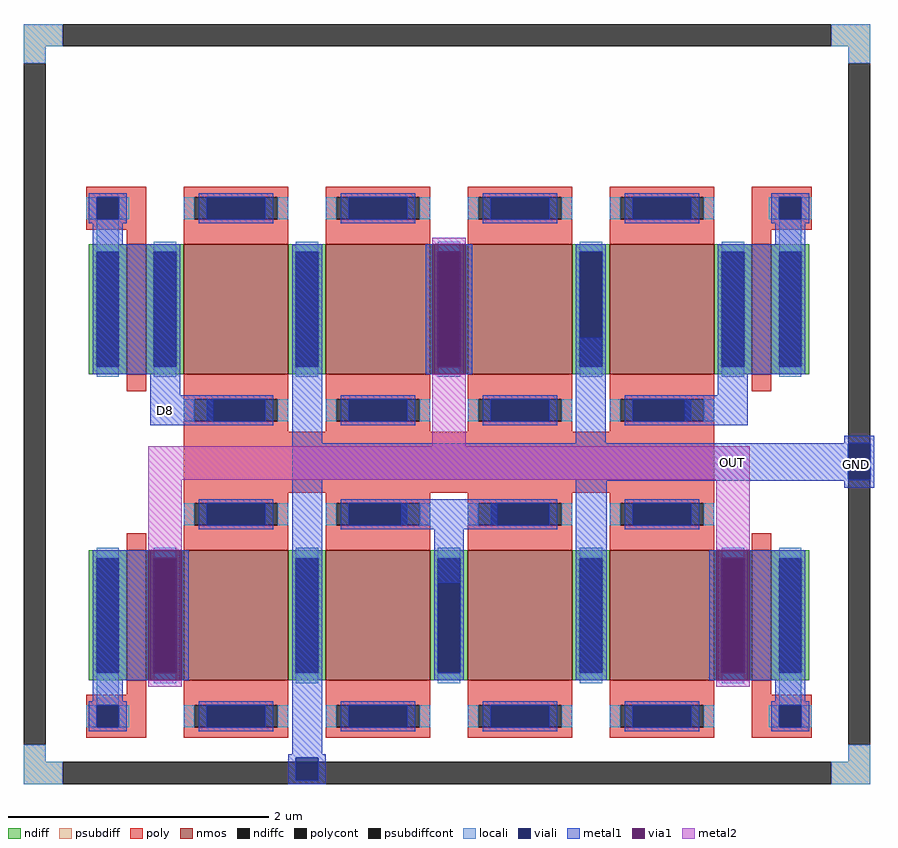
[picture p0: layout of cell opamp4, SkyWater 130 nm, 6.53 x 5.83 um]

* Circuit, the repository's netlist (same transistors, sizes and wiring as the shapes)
* NGSPICE file created from opamp4.ext - technology: sky130A

.subckt sky130_fd_pr__nfet_01v8_5MNGEB a_n29_n100# a_n247_n100# a_189_n100# a_n189_n188#
+ a_29_n188# VSUBS
X0 a_n29_n100# a_n189_n188# a_n247_n100# VSUBS sky130_fd_pr__nfet_01v8 ad=0.145 pd=1.29 as=0.29 ps=2.58 w=1 l=0.8
X1 a_189_n100# a_29_n188# a_n29_n100# VSUBS sky130_fd_pr__nfet_01v8 ad=0.29 pd=2.58 as=0.145 ps=1.29 w=1 l=0.8
.ends

.subckt sky130_fd_pr__nfet_01v8_6H9P4D a_n73_n100# a_15_n100# a_n15_n126# VSUBS
X0 a_15_n100# a_n15_n126# a_n73_n100# VSUBS sky130_fd_pr__nfet_01v8 ad=0.29 pd=2.58 as=0.29 ps=2.58 w=1 l=0.15
.ends

.subckt opamp4 D8 OUT GND
Xsky130_fd_pr__nfet_01v8_5MNGEB_0 GND D8 OUT D8 D8 GND sky130_fd_pr__nfet_01v8_5MNGEB
Xsky130_fd_pr__nfet_01v8_5MNGEB_1 GND OUT D8 D8 D8 GND sky130_fd_pr__nfet_01v8_5MNGEB
Xsky130_fd_pr__nfet_01v8_5MNGEB_2 GND D8 OUT D8 D8 GND sky130_fd_pr__nfet_01v8_5MNGEB
Xsky130_fd_pr__nfet_01v8_5MNGEB_3 GND OUT D8 D8 D8 GND sky130_fd_pr__nfet_01v8_5MNGEB
Xsky130_fd_pr__nfet_01v8_6H9P4D_0 OUT OUT OUT GND sky130_fd_pr__nfet_01v8_6H9P4D
Xsky130_fd_pr__nfet_01v8_6H9P4D_1 D8 D8 D8 GND sky130_fd_pr__nfet_01v8_6H9P4D
Xsky130_fd_pr__nfet_01v8_6H9P4D_3 D8 D8 D8 GND sky130_fd_pr__nfet_01v8_6H9P4D
Xsky130_fd_pr__nfet_01v8_6H9P4D_5 OUT OUT OUT GND sky130_fd_pr__nfet_01v8_6H9P4D
.ends

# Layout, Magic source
magic
tech sky130A
magscale 1 2
<< psubdiff >>
rect -188 1062 -128 1096
rect 1052 1062 1112 1096
rect -188 1036 -154 1062
rect 1078 1036 1112 1062
rect -188 -37 -154 -11
rect 1078 -37 1112 -11
rect -188 -71 -128 -37
rect 1052 -71 1112 -37
<< psubdiffcont >>
rect -128 1062 1052 1096
rect -188 -11 -154 1036
rect 1078 -11 1112 1036
rect -128 -71 1052 -37
<< poly >>
rect -92 830 0 846
rect -92 796 -76 830
rect -42 796 0 830
rect -92 780 0 796
rect -30 758 0 780
rect 930 830 1022 846
rect 930 796 972 830
rect 1006 796 1022 830
rect 930 780 1022 796
rect 930 758 960 780
rect 58 376 872 470
rect -30 66 0 88
rect -92 50 0 66
rect -92 16 -76 50
rect -42 16 0 50
rect -92 0 0 16
rect 930 66 960 88
rect 930 50 1022 66
rect 930 16 972 50
rect 1006 16 1022 50
rect 930 0 1022 16
<< polycont >>
rect -76 796 -42 830
rect 972 796 1006 830
rect -76 16 -42 50
rect 972 16 1006 50
<< locali >>
rect -188 1062 -128 1096
rect 1052 1062 1112 1096
rect -188 1036 -154 1062
rect 1078 1036 1112 1062
rect -92 796 -76 830
rect -42 796 -26 830
rect 956 796 972 830
rect 1006 796 1022 830
rect -76 758 -42 796
rect 972 758 1006 796
rect -76 50 -42 88
rect 972 50 1006 88
rect -92 16 -76 50
rect -42 16 -26 50
rect 956 16 972 50
rect 1006 16 1022 50
rect -188 -37 -154 -11
rect 1078 -37 1112 -11
rect -188 -71 -128 -37
rect 1052 -71 1112 -37
<< viali >>
rect -76 796 -42 830
rect 972 796 1006 830
rect 1078 396 1112 452
rect -76 16 -42 50
rect 972 16 1006 50
rect 230 -37 264 -31
rect 230 -65 264 -37
<< metal1 >>
rect -88 830 -30 836
rect -88 796 -76 830
rect -42 796 -30 830
rect -88 790 -30 796
rect 960 830 1018 836
rect 960 796 972 830
rect 1006 796 1018 830
rect 960 790 1018 796
rect -82 758 -36 790
rect 966 758 1012 790
rect -82 558 52 758
rect 6 526 52 558
rect 6 480 103 526
rect 224 452 270 758
rect 429 558 439 758
rect 491 558 501 758
rect 660 453 706 614
rect 878 558 1012 758
rect 878 526 924 558
rect 827 480 924 526
rect 660 452 707 453
rect 1072 452 1118 464
rect 224 396 1078 452
rect 1112 396 1118 452
rect -82 88 3 288
rect 55 88 65 288
rect -82 56 -36 88
rect -88 50 -30 56
rect -88 16 -76 50
rect -42 16 -30 50
rect -88 10 -30 16
rect 224 -25 270 396
rect 660 395 1118 396
rect 392 320 539 366
rect 442 238 488 320
rect 660 88 707 395
rect 1072 384 1118 395
rect 865 88 875 288
rect 927 88 1012 288
rect 966 56 1012 88
rect 960 50 1018 56
rect 960 16 972 50
rect 1006 16 1018 50
rect 960 10 1018 16
rect 218 -31 276 -25
rect 218 -65 230 -31
rect 264 -65 276 -31
rect 218 -71 276 -65
<< via1 >>
rect 439 558 491 758
rect 3 88 55 288
rect 875 88 927 288
<< metal2 >>
rect 439 758 491 768
rect 439 448 491 558
rect 3 396 927 448
rect 3 288 55 396
rect 3 78 55 88
rect 875 288 927 396
rect 875 78 927 88
use sky130_fd_pr__nfet_01v8_5MNGEB  sky130_fd_pr__nfet_01v8_5MNGEB_0
transform 1 0 247 0 1 658
box -247 -188 247 188
use sky130_fd_pr__nfet_01v8_5MNGEB  sky130_fd_pr__nfet_01v8_5MNGEB_1
transform 1 0 247 0 1 188
box -247 -188 247 188
use sky130_fd_pr__nfet_01v8_5MNGEB  sky130_fd_pr__nfet_01v8_5MNGEB_2
transform 1 0 683 0 1 188
box -247 -188 247 188
use sky130_fd_pr__nfet_01v8_5MNGEB  sky130_fd_pr__nfet_01v8_5MNGEB_3
transform 1 0 683 0 1 658
box -247 -188 247 188
use sky130_fd_pr__nfet_01v8_6H9P4D  sky130_fd_pr__nfet_01v8_6H9P4D_0
transform 1 0 -15 0 1 188
box -73 -126 73 126
use sky130_fd_pr__nfet_01v8_6H9P4D  sky130_fd_pr__nfet_01v8_6H9P4D_1
transform 1 0 945 0 1 658
box -73 -126 73 126
use sky130_fd_pr__nfet_01v8_6H9P4D  sky130_fd_pr__nfet_01v8_6H9P4D_3
transform 1 0 -15 0 1 658
box -73 -126 73 126
use sky130_fd_pr__nfet_01v8_6H9P4D  sky130_fd_pr__nfet_01v8_6H9P4D_5
transform 1 0 945 0 1 188
box -73 -126 73 126
<< labels >>
flabel metal1 29 503 29 503 0 FreeSans 320 0 0 0 D8
port 2 nsew
flabel viali 1090 419 1090 419 0 FreeSans 320 0 0 0 GND
port 5 nsew
flabel metal2 901 422 901 422 0 FreeSans 320 0 0 0 OUT
port 3 nsew
<< end >>

# cell sky130_fd_pr__nfet_01v8_5MNGEB: kit device sky130_fd_pr__nfet_01v8, w 1 l 0.8 m 1 nf 2 diffcov 100 polycov 100 guard 0 glc 1 grc 1 gtc 1 gbc 1 tbcov 100 rlcov 100 topc 1 botc 1 poverlap 0 doverlap 1 lmin 0.15 wmin 0.42 compatible {sky130_fd_pr__nfet_01v8 sky130_fd_pr__nfet_01v8_lvt sky130_fd_bs_flash__special_sonosfet_star sky130_fd_pr__nfet_g5v0d10v5 sky130_fd_pr__nfet_05v0_nvt sky130_fd_pr__nfet_03v3_nvt} full_metal 1 viasrc 100 viadrn 100 viagate 70 viagb 0 viagr 0 viagl 0 viagt 0

# cell sky130_fd_pr__nfet_01v8_6H9P4D: kit device sky130_fd_pr__nfet_01v8, w 1 l 0.150 m 1 nf 1 diffcov 100 polycov 100 guard 0 glc 1 grc 1 gtc 1 gbc 1 tbcov 100 rlcov 100 topc 0 botc 0 poverlap 0 doverlap 1 lmin 0.15 wmin 0.42 compatible {sky130_fd_pr__nfet_01v8 sky130_fd_pr__nfet_01v8_lvt sky130_fd_bs_flash__special_sonosfet_star sky130_fd_pr__nfet_g5v0d10v5 sky130_fd_pr__nfet_05v0_nvt sky130_fd_pr__nfet_03v3_nvt} full_metal 1 viasrc 100 viadrn 100 viagate 100 viagb 0 viagr 0 viagl 0 viagt 0
